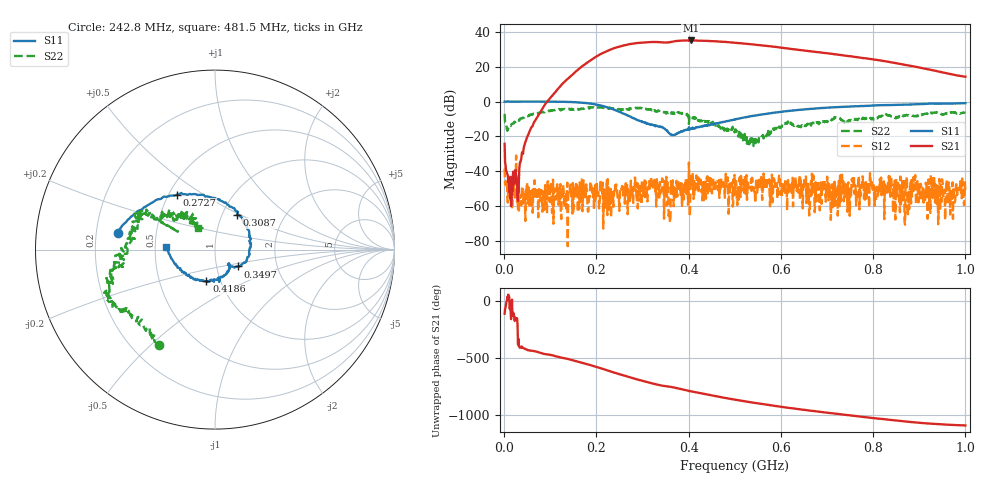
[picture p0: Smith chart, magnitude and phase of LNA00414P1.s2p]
! Created with skrf 1.9.0 (http://scikit-rf.org).
# Hz S RI R 50.0
!freq ReS11 ImS11 ReS21 ImS21 ReS12 ImS12 ReS22 ImS22
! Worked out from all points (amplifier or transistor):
!   1001 points, 1 MHz to 1 GHz, reference 50 ohm
!   highest |S21| = 35.0 dB at 404.6 MHz (marker M1)
!   |S21| within 3 dB of that: 256.8 MHz to 565.5 MHz (308.8 MHz wide, 75.1 % of centre)
!   unconditionally stable (mu >= 1): 225.3 MHz to 283.6 MHz; 318.8 MHz to 400.4 MHz; 400.8 MHz to end of sweep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
!   at 166.8 MHz: K = 0.41, MSG = 32.4 dB, |S12| = -45.1 dB
!   at 500.5 MHz: K = 1.97, MAG = 34.2 dB, |S12| = -46.0 dB
!   at 1 GHz: K = 6.11, MAG = 22.7 dB, |S12| = -52.9 dB
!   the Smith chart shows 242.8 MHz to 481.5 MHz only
!   S11 on the Smith chart (normalised r, x): 242.8 MHz: 0.29, +0.08; 272.7 MHz: 0.55, +0.39; 308.7 MHz: 1.17, +0.48; 349.7 MHz: 1.27, -0.24; 418.6 MHz: 0.86, -0.31; 481.5 MHz: 0.57, +0.02
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1000000  0.9918 0.00665  -0.0194 -0.0582  -0.0119 0.000217  0.3018 0.3261
1.09891e8  0.5222 -0.846  -0.8617 -1.579  -0.00289 -0.00142  0.4405 -0.3704
1.67833e8  -0.1954 -0.9058  -9.955 -0.622  -0.00585 -0.000334  0.0438 -0.6202
2.09791e8  -0.6449 -0.4224  -15.77 16.88  0.000711 0.00314  -0.1881 -0.6556
2.42758e8  -0.5431 0.0922  -0.2421 35.26  0.00256 -0.00334  -0.3112 -0.533
2.72728e8  -0.2114 0.3061  26.1 35.97  -0.000609 0.00128  -0.5461 -0.3418
3.08692e8  0.1216 0.1929  48.7 11.63  -0.00113 -0.00387  -0.5688 -0.1907
3.34666e8  0.1906 -0.00531  49.42 -10.56  0.000688 -0.00167  -0.5474 -0.0476
3.49651e8  0.1289 -0.0936  45.14 -19.6  -0.00214 -0.000408  -0.4651 0.0493
3.75625e8  0.0819 -0.0902  40.78 -36.58  0.000933 0.00167  -0.4404 0.1865
4.04596e8  0.0153 -0.1691  20.92 -52.34  0.00141 0.00718  -0.3068 0.184
4.18582e8  -0.0475 -0.1763  9.901 -54.83  -0.000376 0.00338  -0.2269 0.1999
4.45555e8  -0.172 -0.1286  -10.39 -53.23  0.00523 0.00396  -0.1908 0.1755
4.81519e8  -0.2723 0.0148  -31.48 -39.96  0.00568 0.0027  -0.0954 0.1198
5.005e8  -0.2806 0.1136  -38.32 -30.25  -0.00367 -0.00343  -0.1126 0.0994
5.4046e8  -0.2264 0.316  -42.21 -8.764  0.000416 -0.00301  -0.0522 -0.00844
5.88412e8  -0.0374 0.4838  -35 11.23  0.00243 -0.00455  -0.1485 -0.0783
6.67333e8  0.328 0.5294  -13.64 23.42  -0.00129 -0.00844  -0.2328 -0.0528
7.53247e8  0.6264 0.3673  3.743 19.28  -0.00254 -0.00528  -0.2847 0.00545
8.34166e8  0.779 0.1374  10.1 9.251  -0.00435 -0.00594  -0.3941 0.0255
9.09091e8  0.8461 -0.1126  8.71 1.921  0.00121 -0.00038  -0.3799 0.2008
1e9  0.8113 -0.3847  5.098 -0.68  0.000908 0.00209  -0.3039 0.3665
